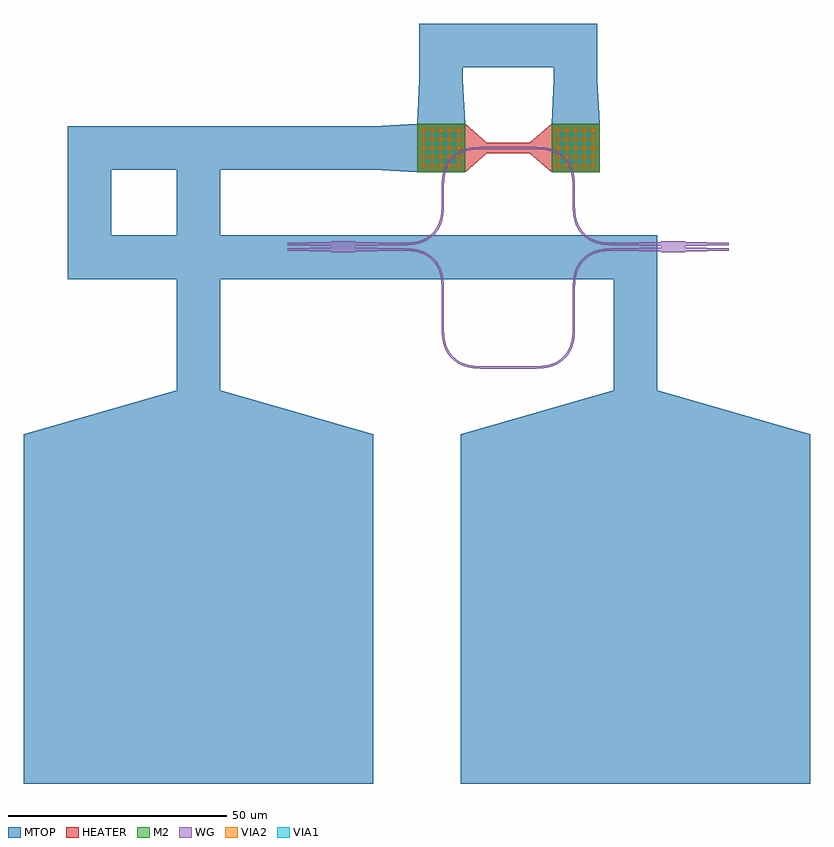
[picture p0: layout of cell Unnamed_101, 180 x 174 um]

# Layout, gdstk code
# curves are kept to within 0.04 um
from math import pi, radians
import gdstk
lib = gdstk.Library(unit=1e-6, precision=1e-09)
def R(c, l, rs):  # rectangles x0, y0, x1, y1
    for r in rs: c.add(gdstk.rectangle(r[:2], r[2:], *l))
def A(c, l, x, y, w, h, nx, ny, dx, dy):  # array of equal rectangles
    R(c, l, [(x+i*dx, y+j*dy, x+i*dx+w, y+j*dy+h) for i in range(nx) for j in range(ny)])
def P(c, l, *ps):  # polygons
    for p in ps: c.add(gdstk.Polygon(p, *l))
WG = (1, 0)
VIA2 = (43, 0)
VIA1 = (44, 0)
M2 = (45, 0)
HEATER = (47, 0)
MTOP = (49, 0)

taper_l10_w80_w10_lnone_ = lib.new_cell('taper_L10_W80_W10_LNone_b5bfcac5')
P(taper_l10_w80_w10_lnone_, MTOP, [(0,-40),(0,40),(10,5),(10,-5)])

pad_spad_size_lmtop_bln_ = lib.new_cell('pad_Spad_size_LMTOP_BLN_98082d0a')
R(pad_spad_size_lmtop_bln_, MTOP, [(-40,-40,40,40)])

taper_l10_w11_w10_lnone_ = lib.new_cell('taper_L10_W11_W10_LNone_57d8f1fd')
P(taper_l10_w11_w10_lnone_, MTOP, [(0,-5.5),(0,5.5),(10,5),(10,-5)])

straight_l7_n2_csstrip_w = lib.new_cell('straight_L7_N2_CSstrip_WNone')
R(straight_l7_n2_csstrip_w, WG, [(0,-0.25,7,0.25)])

straight_l2_n2_csstrip_w = lib.new_cell('straight_L2_N2_CSstrip_WNone')
R(straight_l2_n2_csstrip_w, WG, [(0,-0.25,2,0.25)])

mmi2x2_wnone_wt1_lt10_l_ = lib.new_cell('mmi2x2_WNone_WT1_LT10_L_4ab7dfce')
P(mmi2x2_wnone_wt1_lt10_l_, WG, [(0,-1.25),(0,-1.125),(-10,-0.875),(-10,-0.375),(0,-0.125),(0,0.125),(-10,0.375),(-10,0.875),(0,1.125),(0,1.25),(5.5,1.25),(5.5,1.125),(15.5,0.875),(15.5,0.375),(5.5,0.125),(5.5,-0.125),(15.5,-0.375),(15.5,-0.875),(5.5,-1.125),(5.5,-1.25)])

straight_heater_metal_u_ = lib.new_cell('straight_heater_metal_u_385113d0')
R(straight_heater_metal_u_, WG, [(0,-0.25,10,0.25)])
A(straight_heater_metal_u_, VIA2, -14.75, -4.35, 0.7, 0.7, 5, 5, 2, 2)
A(straight_heater_metal_u_, VIA2, 16.05, -4.35, 0.7, 0.7, 5, 5, 2, 2)
A(straight_heater_metal_u_, VIA1, -13.75, -3.35, 0.7, 0.7, 4, 4, 2, 2)
A(straight_heater_metal_u_, VIA1, 17.05, -3.35, 0.7, 0.7, 4, 4, 2, 2)
R(straight_heater_metal_u_, M2, [(-15.9,-5.5,-4.9,5.5), (14.9,-5.5,25.9,5.5)])
P(straight_heater_metal_u_, HEATER, [(-15.9,-5.5),(-15.9,5.5),(-4.9,5.5),(0.1,1.25),(9.9,1.25),(14.9,5.5),(25.9,5.5),(25.9,-5.5),(14.9,-5.5),(9.9,-1.25),(0.1,-1.25),(-4.9,-5.5)])
R(straight_heater_metal_u_, MTOP, [(-15.9,-5.5,-4.9,5.5), (14.9,-5.5,25.9,5.5)])

bend_euler_rnone_a90_p0_ = lib.new_cell('bend_euler_RNone_A90_P0_d7c3a5a9')
P(bend_euler_rnone_a90_p0_, WG, [(0,-0.25),(0,0.25),(1.655,0.269),(2.881,0.353),(3.952,0.52),(4.99,0.806),(5.731,1.113),(6.431,1.505),(7.575,2.425),(8.495,3.569),(8.887,4.269),(9.194,5.01),(9.48,6.048),(9.647,7.119),(9.731,8.345),(9.75,10),(10.25,10),(10.158,7.205),(10.023,6.224),(9.797,5.254),(9.457,4.312),(9.066,3.545),(8.5,2.715),(7.928,2.072),(7.285,1.5),(6.455,0.934),(5.688,0.543),(4.746,0.203),(3.776,-0.023),(2.795,-0.158)])

straight_l10_n2_csstrip_ = lib.new_cell('straight_L10_N2_CSstrip_WNone')
R(straight_l10_n2_csstrip_, WG, [(0,-0.25,10,0.25)])

mzi_dl10_ly2_lx10_bbend_ = lib.new_cell('mzi_DL10_LY2_LX10_Bbend_0a9addde$44')
P(mzi_dl10_ly2_lx10_bbend_, MTOP, [(20.1,38.125),(20.1,51.125),(60.9,51.125),(60.9,38.125),(50.9,38.125),(50.9,41.125),(30.1,41.125),(30.1,38.125)])
mzi_dl10_ly2_lx10_bbend_.add(gdstk.Reference(taper_l10_w11_w10_lnone_, (25.1,28.125), rotation=pi/2))
mzi_dl10_ly2_lx10_bbend_.add(gdstk.Reference(taper_l10_w11_w10_lnone_, (55.9,28.125), rotation=pi/2))
mzi_dl10_ly2_lx10_bbend_.add(gdstk.Reference(straight_l7_n2_csstrip_w, (55.5,-17.625), rotation=pi/2))
mzi_dl10_ly2_lx10_bbend_.add(gdstk.Reference(straight_l2_n2_csstrip_w, (55.5,10.625), rotation=pi/2))
mzi_dl10_ly2_lx10_bbend_.add(gdstk.Reference(mmi2x2_wnone_wt1_lt10_l_, (81,0), rotation=pi, x_reflection=True))
mzi_dl10_ly2_lx10_bbend_.add(gdstk.Reference(straight_heater_metal_u_, (35.5,22.625)))
mzi_dl10_ly2_lx10_bbend_.add(gdstk.Reference(straight_l7_n2_csstrip_w, (25.5,-10.625), rotation=3*pi/2))
mzi_dl10_ly2_lx10_bbend_.add(gdstk.Reference(bend_euler_rnone_a90_p0_, (55.5,10.625), rotation=3*pi/2))
mzi_dl10_ly2_lx10_bbend_.add(gdstk.Reference(bend_euler_rnone_a90_p0_, (65.5,-0.625), rotation=pi))
mzi_dl10_ly2_lx10_bbend_.add(gdstk.Reference(straight_l10_n2_csstrip_, (35.5,-27.625)))
mzi_dl10_ly2_lx10_bbend_.add(gdstk.Reference(bend_euler_rnone_a90_p0_, (45.5,-27.625)))
mzi_dl10_ly2_lx10_bbend_.add(gdstk.Reference(bend_euler_rnone_a90_p0_, (55.5,12.625), rotation=pi/2))
mzi_dl10_ly2_lx10_bbend_.add(gdstk.Reference(bend_euler_rnone_a90_p0_, (35.5,22.625), rotation=pi))
mzi_dl10_ly2_lx10_bbend_.add(gdstk.Reference(bend_euler_rnone_a90_p0_, (25.5,-17.625), rotation=3*pi/2))
mzi_dl10_ly2_lx10_bbend_.add(gdstk.Reference(straight_l2_n2_csstrip_w, (25.5,10.625), rotation=pi/2))
mzi_dl10_ly2_lx10_bbend_.add(gdstk.Reference(mmi2x2_wnone_wt1_lt10_l_, (0,0)))
mzi_dl10_ly2_lx10_bbend_.add(gdstk.Reference(bend_euler_rnone_a90_p0_, (15.5,0.625)))
mzi_dl10_ly2_lx10_bbend_.add(gdstk.Reference(bend_euler_rnone_a90_p0_, (15.5,-0.625), x_reflection=True))

unnamed_101 = lib.new_cell('Unnamed_101')
P(unnamed_101, MTOP, [(64.6,-32.875),(64.6,-7.375),(-60.4,-7.375),(-60.4,27.625),(9.6,27.625),(9.6,17.625),(-50.4,17.625),(-50.4,2.625),(74.6,2.625),(74.6,-32.875)],
  [(-35.4,-32.875),(-35.4,27.625),(9.6,27.625),(9.6,17.625),(-25.4,17.625),(-25.4,-32.875)])
unnamed_101.add(gdstk.Reference(taper_l10_w80_w10_lnone_, (-30.4,-42.875), rotation=pi/2))
unnamed_101.add(gdstk.Reference(taper_l10_w80_w10_lnone_, (69.6,-42.875), rotation=pi/2))
unnamed_101.add(gdstk.Reference(pad_spad_size_lmtop_bln_, (-30.4,-82.875), rotation=3*pi/2))
unnamed_101.add(gdstk.Reference(pad_spad_size_lmtop_bln_, (69.6,-82.875), rotation=3*pi/2))
unnamed_101.add(gdstk.Reference(taper_l10_w11_w10_lnone_, (19.6,22.625), rotation=pi))
unnamed_101.add(gdstk.Reference(taper_l10_w11_w10_lnone_, (19.6,22.625), rotation=pi))
unnamed_101.add(gdstk.Reference(mzi_dl10_ly2_lx10_bbend_, (0,0)))

lib.write_gds('Unnamed_101.gds')
